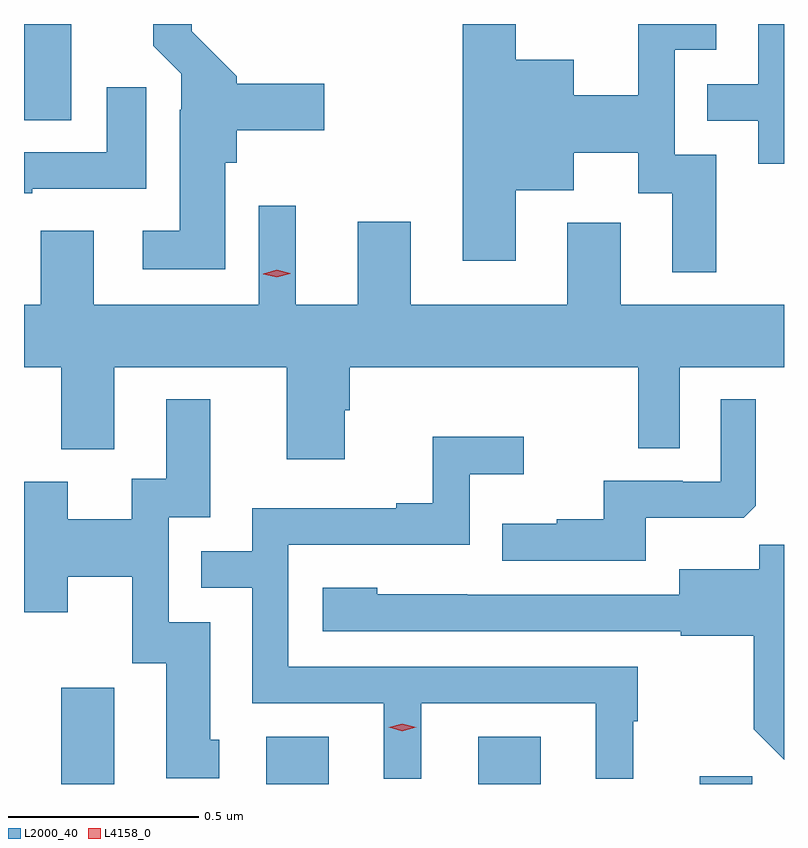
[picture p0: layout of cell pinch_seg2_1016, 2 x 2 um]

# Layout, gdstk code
import gdstk
lib = gdstk.Library(unit=1e-6, precision=1e-09)
def R(c, l, rs):  # rectangles x0, y0, x1, y1
    for r in rs: c.add(gdstk.rectangle(r[:2], r[2:], *l))
def P(c, l, *ps):  # polygons
    for p in ps: c.add(gdstk.Polygon(p, *l))
L2000_40 = (2000, 40)
L4158_0 = (4158, 0)

pinch_seg2_1016 = lib.new_cell('pinch_seg2_1016')
R(pinch_seg2_1016, L2000_40, [(135.959,650.535,136.099,650.788), (136.499,650.535,136.663,650.659), (137.057,650.535,137.221,650.659), (137.639,650.535,137.777,650.555), (135.861,652.282,135.985,652.535)])
P(pinch_seg2_1016, L2000_40, [(137.861,652.535),(137.793,652.535),(137.793,652.377),(137.659,652.377),(137.659,652.281),(137.793,652.281),(137.793,652.167),(137.861,652.167)],
  [(136.39,652.17),(136.421,652.17),(136.421,652.256),(136.651,652.256),(136.651,652.378),(136.421,652.378),(136.421,652.398),(136.303,652.516),(136.303,652.535),(136.201,652.535),(136.201,652.478),(136.275,652.404),(136.275,652.31),(136.271,652.31),(136.271,651.991),(136.173,651.991),(136.173,651.89),(136.39,651.89)],
  [(137.683,652.191),(137.574,652.191),(137.574,652.467),(137.683,652.467),(137.683,652.535),(137.478,652.535),(137.478,652.348),(137.308,652.348),(137.308,652.441),(137.155,652.441),(137.155,652.535),(137.015,652.535),(137.015,651.912),(137.155,651.912),(137.155,652.097),(137.308,652.097),(137.308,652.196),(137.477,652.196),(137.477,652.09),(137.567,652.09),(137.567,651.882),(137.683,651.882)],
  [(135.883,652.101),(136.183,652.101),(136.183,652.369),(136.079,652.369),(136.079,652.197),(135.861,652.197),(135.861,652.089),(135.883,652.089)],
  [(136.705,651.519),(136.718,651.519),(136.718,651.632),(137.478,651.632),(137.478,651.418),(137.586,651.418),(137.586,651.632),(137.861,651.632),(137.861,651.796),(137.431,651.796),(137.431,652.012),(137.291,652.012),(137.291,651.796),(136.879,651.796),(136.879,652.015),(136.739,652.015),(136.739,651.796),(136.576,651.796),(136.576,652.057),(136.479,652.057),(136.479,651.796),(136.045,651.796),(136.045,651.991),(135.905,651.991),(135.905,651.796),(135.861,651.796),(135.861,651.632),(135.959,651.632),(135.959,651.416),(136.099,651.416),(136.099,651.632),(136.553,651.632),(136.553,651.39),(136.705,651.39)],
  [(136.375,650.652),(136.351,650.652),(136.351,650.961),(136.242,650.961),(136.242,651.237),(136.351,651.237),(136.351,651.547),(136.235,651.547),(136.235,651.338),(136.145,651.338),(136.145,651.232),(135.976,651.232),(135.976,651.331),(135.861,651.331),(135.861,650.987),(135.976,650.987),(135.976,651.08),(136.146,651.08),(136.146,650.853),(136.235,650.853),(136.235,650.55),(136.375,650.55)],
  [(137.497,651.236),(137.755,651.236),(137.787,651.267),(137.787,651.547),(137.694,651.547),(137.694,651.33),(137.594,651.33),(137.594,651.333),(137.387,651.333),(137.387,651.232),(137.263,651.232),(137.263,651.22),(137.119,651.22),(137.119,651.123),(137.497,651.123)],
  [(136.906,650.748),(137.366,650.748),(137.366,650.549),(137.464,650.549),(137.464,650.7),(137.476,650.7),(137.476,650.844),(136.557,650.844),(136.557,651.165),(137.034,651.165),(137.034,651.35),(137.176,651.35),(137.176,651.449),(136.936,651.449),(136.936,651.274),(136.841,651.274),(136.841,651.261),(136.461,651.261),(136.461,651.147),(136.327,651.147),(136.327,651.051),(136.461,651.051),(136.461,650.748),(136.808,650.748),(136.808,650.549),(136.906,650.549)],
  [(137.861,651.164),(137.796,651.164),(137.796,651.1),(137.585,651.1),(137.585,651.033),(137.027,651.033),(137.027,651.034),(136.791,651.034),(136.791,651.052),(136.647,651.052),(136.647,650.937),(137.589,650.937),(137.589,650.925),(137.781,650.925),(137.781,650.679),(137.861,650.599)])
P(pinch_seg2_1016, L4158_0, [(136.857,650.674),(136.821,650.684),(136.821,650.684),(136.821,650.685),(136.857,650.694),(136.893,650.685),(136.893,650.684),(136.893,650.684)],
  [(136.526,651.868),(136.49,651.877),(136.49,651.878),(136.49,651.878),(136.526,651.888),(136.562,651.879),(136.562,651.879),(136.562,651.878)])

lib.write_gds('pinch_seg2_1016.gds')
